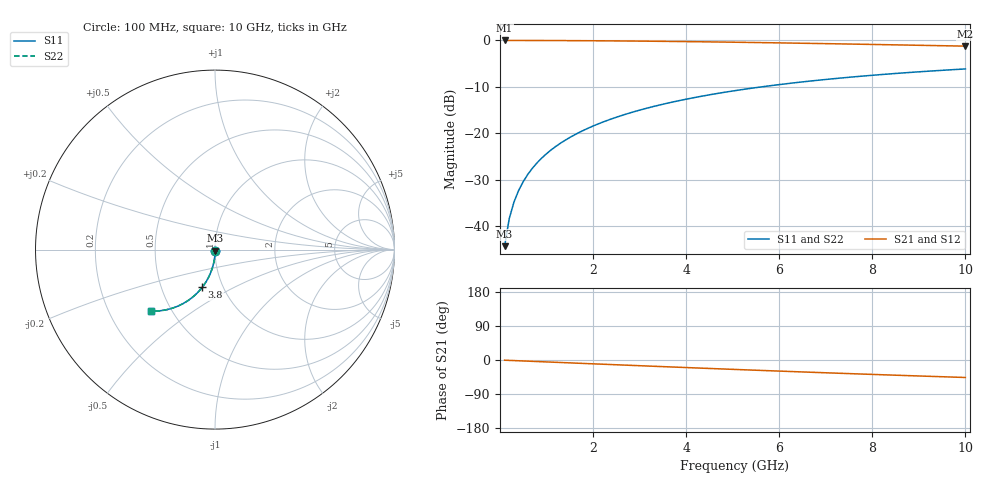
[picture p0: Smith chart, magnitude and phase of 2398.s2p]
# Hz S RI R 50.00
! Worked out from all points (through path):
!   100 points, 100 MHz to 10 GHz, reference 50 ohm
!   highest |S21| = -0.01 dB at 100 MHz (marker M1); lowest = -1.2 dB at 10 GHz (marker M2)
!   group delay of S21, straight-line fit = 12.9 ps
!   lowest |S11| = -44.3 dB at 100 MHz (marker M3), VSWR 1.01, Z = 50.1 - j0.607 ohm
!   |S11| at or under -10 dB: start of sweep to 5.617 GHz
!   |S22| runs from -44.3 to -6.1 dB; largest |S21 - S12| = 0
!   S11 on the Smith chart (normalised r, x): 100 MHz: 1.00, -0.01; 3.8 GHz: 0.80, -0.35; 10 GHz: 0.39, -0.35
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1e8  0.000805 -0.00606  0.9991 -0.00883  0.9991 -0.00883  0.000805 -0.00606
2e8  0.000643 -0.0121  0.9989 -0.0177  0.9989 -0.0177  0.000643 -0.0121
3e8  0.000373 -0.0182  0.9986 -0.0265  0.9986 -0.0265  0.000373 -0.0182
4e8  -5.2e-06 -0.0242  0.9982 -0.0353  0.9982 -0.0353  -5.2e-06 -0.0242
5e8  -0.00049 -0.0302  0.9976 -0.0441  0.9976 -0.0441  -0.00049 -0.0302
6e8  -0.00108 -0.0363  0.997 -0.0529  0.997 -0.0529  -0.00108 -0.0363
7e8  -0.00178 -0.0423  0.9963 -0.0617  0.9963 -0.0617  -0.00178 -0.0423
8e8  -0.00258 -0.0483  0.9954 -0.0705  0.9954 -0.0705  -0.00258 -0.0483
9e8  -0.00349 -0.0542  0.9944 -0.0792  0.9944 -0.0792  -0.00349 -0.0542
1.1e9  -0.00562 -0.0661  0.9921 -0.0967  0.9921 -0.0967  -0.00562 -0.0661
1.4e9  -0.00959 -0.0838  0.9878 -0.1227  0.9878 -0.1227  -0.00959 -0.0838
1.8e9  -0.0163 -0.1068  0.9806 -0.1568  0.9806 -0.1568  -0.0163 -0.1068
2.1e9  -0.0224 -0.1237  0.9741 -0.1821  0.9741 -0.1821  -0.0224 -0.1237
2.5e9  -0.0317 -0.1456  0.964 -0.2151  0.964 -0.2151  -0.0317 -0.1456
2.9e9  -0.0425 -0.1667  0.9523 -0.2473  0.9523 -0.2473  -0.0425 -0.1667
3.4e9  -0.0579 -0.1916  0.9357 -0.2863  0.9357 -0.2863  -0.0579 -0.1916
3.8e9  -0.0715 -0.2104  0.9209 -0.3163  0.9209 -0.3163  -0.0715 -0.2104
4.4e9  -0.094 -0.2365  0.8965 -0.3592  0.8965 -0.3592  -0.094 -0.2365
5.1e9  -0.1229 -0.2634  0.865 -0.4058  0.865 -0.4058  -0.1229 -0.2634
6.7e9  -0.1961 -0.3099  0.7841 -0.4978  0.7841 -0.4978  -0.1961 -0.3099
8.4e9  -0.2788 -0.3367  0.6907 -0.5733  0.6907 -0.5733  -0.2788 -0.3367
1e10  -0.3552 -0.3423  0.6016 -0.6256  0.6016 -0.6256  -0.3552 -0.3423
